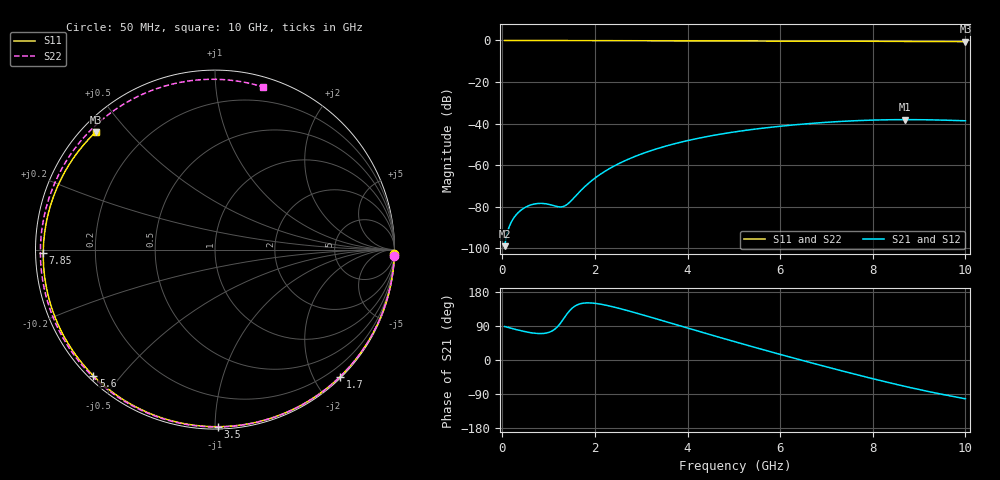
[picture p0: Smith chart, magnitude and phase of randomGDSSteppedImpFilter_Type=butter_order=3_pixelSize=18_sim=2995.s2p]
! freq	dB(S11)	phase(S11)	dB(S12)	phase(S12)
!  dB(S21)	phase(S21)	dB(S22)	phase(S22)
!S-par simulation data
#  GHz  S  DB  R 50
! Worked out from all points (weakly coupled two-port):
!   200 points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, 50 MHz to 10 GHz, reference 50 ohm
!   highest |S21| = -38.11 dB at 8.7 GHz (marker M1); lowest = -99.0 dB at 50 MHz (marker M2)
!   lowest |S11| = -0.6 dB at 10 GHz (marker M3), VSWR 28.89, Z = 2.02 + j20.4 ohm
!   |S11| at or under -10 dB: nowhere
!   |S22| runs from -0.5 to 0.0 dB; largest |S21 - S12| = 0
!   S11 on the Smith chart (normalised r, x): 50 MHz: 0, -83; 1.7 GHz: 0.02, -2.39; 3.5 GHz: 0.01, -1.02; 5.6 GHz: 0.01, -0.42; 7.85 GHz: 0.02, -0.01; 10 GHz: 0.04, +0.41
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0.05  -0.00 -1.4  -99.03 88.4  -99.03 88.4  -0.00 -2.0
0.5  -0.02 -13.6  -80.28 74.7  -80.28 74.7  -0.03 -20.1
0.85  -0.03 -23.1  -78.44 69.8  -78.44 69.8  -0.04 -33.8
1.3  -0.04 -35.0  -80.04 104.6  -80.04 104.6  -0.06 -50.9
1.45  -0.05 -39.0  -77.99 129.6  -77.99 129.6  -0.07 -56.5
1.7  -0.06 -45.4  -72.15 148.8  -72.15 148.8  -0.08 -65.5
1.75  -0.06 -46.7  -71.05 150.0  -71.05 150.0  -0.08 -67.2
2.05  -0.07 -54.3  -65.47 148.8  -65.47 148.8  -0.09 -77.6
2.45  -0.08 -64.3  -60.04 138.5  -60.04 138.5  -0.10 -90.8
2.9  -0.09 -75.2  -55.52 123.7  -55.52 123.7  -0.12 -104.8
3.4  -0.11 -86.8  -51.71 106.0  -51.71 106.0  -0.14 -119.4
3.5  -0.11 -89.1  -51.05 102.4  -51.05 102.4  -0.14 -122.2
4.25  -0.14 -105.8  -47.01 75.4  -47.01 75.4  -0.17 -142.4
5.05  -0.18 -122.7  -43.91 47.2  -43.91 47.2  -0.20 -162.6
5.6  -0.21 -134.0  -42.29 28.3  -42.29 28.3  -0.23 -175.9
6.15  -0.24 -145.0  -40.96 9.8  -40.96 9.8  -0.26 171.0
6.7  -0.28 -156.0  -39.88 -8.3  -39.88 -8.3  -0.29 157.9
7.85  -0.38 -178.9  -38.44 -44.8  -38.44 -44.8  -0.36 130.0
8.35  -0.43 171.0  -38.17 -59.7  -38.17 -59.7  -0.39 117.4
8.7  -0.46 163.7  -38.11 -69.7  -38.11 -69.7  -0.41 108.4
9.35  -0.53 149.9  -38.26 -87.0  -38.26 -87.0  -0.45 91.2
10  -0.60 135.5  -38.67 -102.3  -38.67 -102.3  -0.49 73.4
